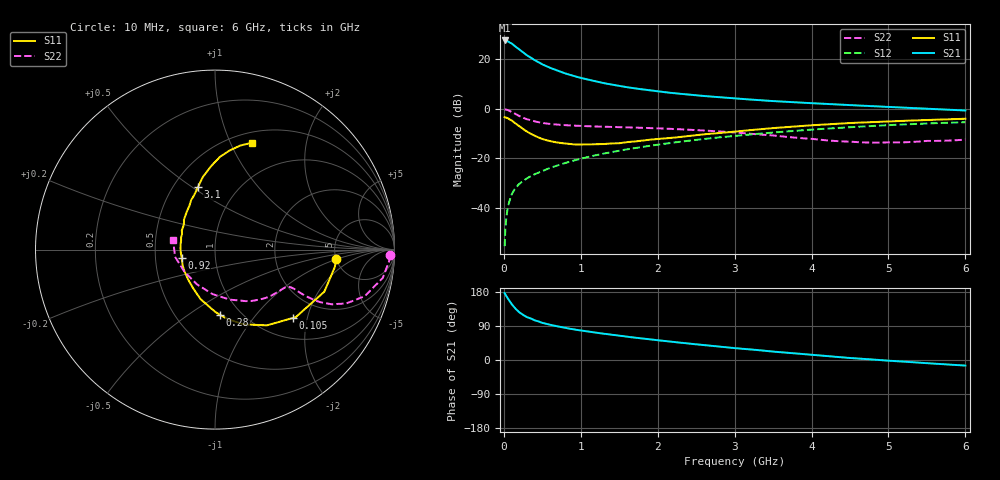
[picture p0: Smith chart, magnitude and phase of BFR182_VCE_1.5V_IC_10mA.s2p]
! Infineon Technologies  Discrete & RF Semiconductors
! BFR182
! VCE =  1.5 V,  IC =  10 mA
! Common Emitter S-Parameters:  Nov 2015
# GHz  S  MA  R  50
!  f  S11  S21  S12  S22
! GHz  MAG  ANG  MAG  ANG  MAG  ANG  MAG  ANG
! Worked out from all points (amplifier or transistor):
!   210 points, 10 MHz to 6 GHz, reference 50 ohm
!   highest |S21| = 27.6 dB at 10 MHz (marker M1)
!   |S21| within 3 dB of that: start of sweep to 174.5 MHz
!   unconditionally stable (mu >= 1): 717.8 MHz to 2.698 GHz
!   at 185 MHz: K = 0.52, MSG = 27.6 dB, |S12| = -30.8 dB
!   at 1.52 GHz: K = 1.06, MAG = 11.5 dB, |S12| = -16.8 dB
!   at 6 GHz: K = 0.90, MSG = 2.4 dB, |S12| = -5.4 dB
!   S11 on the Smith chart (normalised r, x): 10 MHz: 5.02, -0.99; 105 MHz: 1.43, -1.64; 280 MHz: 0.81, -0.67; 920 MHz: 0.68, -0.07; 3.1 GHz: 0.66, +0.53; 6 GHz: 0.61, +1.21
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0.01  0.6785 -4.5  23.94 176.5  0.0017 86.8  0.9776 -1.9
0.025  0.6684 -10.5  23.37 171.2  0.0048 82.9  0.9669 -4.9
0.05  0.6526 -21.1  23.08 162.8  0.0098 80.1  0.948 -9.6
0.1  0.5866 -39.9  20.91 147.8  0.0186 72.0  0.8733 -17.3
0.105  0.5774 -41.3  20.59 146.7  0.0192 71.6  0.8647 -17.8
0.15  0.5119 -55.5  18.13 135.2  0.0251 68.6  0.7904 -22.3
0.2  0.4474 -68.7  15.82 126.0  0.0306 67.1  0.7187 -25.1
0.24  0.4014 -77.7  14.12 120.3  0.0341 65.4  0.6716 -26.2
0.28  0.3643 -85.6  12.69 115.6  0.0378 64.8  0.6345 -26.8
0.3  0.348 -89.6  12.02 113.2  0.0396 64.7  0.6176 -27.0
0.4  0.2873 -106.3  9.608 104.9  0.0479 65.6  0.558 -27.1
0.5  0.2467 -119.8  7.893 98.0  0.0555 66.3  0.5191 -26.7
0.6  0.2241 -131.8  6.731 93.0  0.0643 67.0  0.4951 -26.4
0.7  0.2091 -144.3  5.859 88.6  0.0723 67.4  0.4797 -26.4
0.92  0.1914 -165.4  4.54 80.4  0.0916 67.6  0.4578 -26.9
1.02  0.1912 -174.2  4.135 77.3  0.1003 67.7  0.4505 -27.5
1.4  0.2011 159.7  3.084 66.8  0.1339 66.7  0.4315 -31.2
2.02  0.2478 132.7  2.235 51.7  0.1911 62.5  0.4035 -39.7
3.1  0.3597 105.4  1.581 29.7  0.2942 52.4  0.3243 -61.7
4.1  0.4762 91.4  1.277 12.1  0.39 41.0  0.2389 -97.6
5.1  0.5661 80.4  1.078 -3.0  0.4774 28.4  0.2101 -149.1
6  0.6313 70.7  0.926 -14.7  0.5372 15.9  0.2397 167.2
